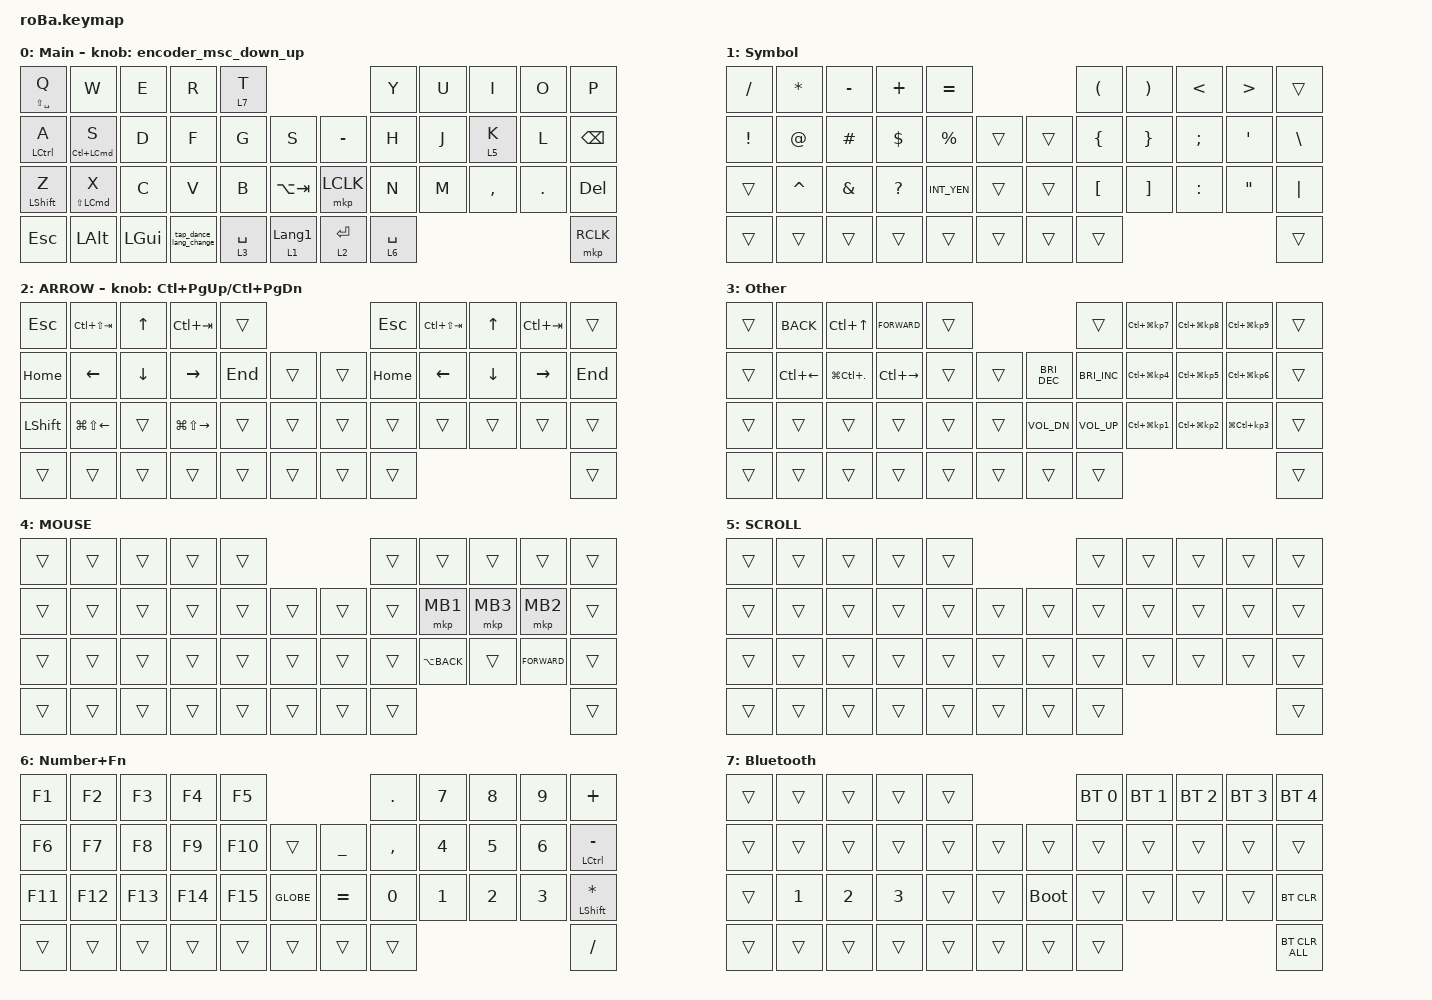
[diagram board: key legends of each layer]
#include <behaviors.dtsi>
#include <dt-bindings/zmk/bt.h>
#include <dt-bindings/zmk/keys.h>
#include <dt-bindings/zmk/pointing.h>

#define ZMK_POINTING_DEFAULT_SCRL_VAL 80
#define MOUSE 4
#define SCROLL 5
#define NUM 6

&mt {
    flavor = "balanced";
    quick-tap-ms = <0>;
};

/ {
    combos {
        compatible = "zmk,combos";

        tab {
            bindings = <&kp TAB>;
            key-positions = <11 12>;
        };

        shift_tab {
            bindings = <&kp LS(TAB)>;
            key-positions = <12 13>;
        };

        muhennkann {
            bindings = <&to_layer_0 INT_MUHENKAN>;
            key-positions = <11 10>;
        };

        double_quotation {
            bindings = <&kp DOUBLE_QUOTES>;
            key-positions = <20 21>;
        };

        eq {
            bindings = <&kp EQUAL>;
            key-positions = <24 25>;
        };

        back_with_JK {
            bindings = <&kp K_BACK>;
            key-positions = <18 19>;
        };

        forward_with_m, {
            bindings = <&kp K_FORWARD>;
            key-positions = <30 31>;
        };
    };

    macros {
        to_layer_0: to_layer_0 {
            compatible = "zmk,behavior-macro-one-param";
            #binding-cells = <1>;
            bindings = <&to 0 &macro_param_1to1 &kp MACRO_PLACEHOLDER>;
            label = "TO_LAYER_0";
        };

        control_command: control_command {
            compatible = "zmk,behavior-macro";
            #binding-cells = <0>;
            bindings = <&none>;
            label = "CONTROL_COMMAND";
        };

        encoder_msc_down_up: encoder_msc_down_up {
            compatible = "zmk,behavior-sensor-rotate";
            label = "ENCODER_MSC_DOWN_UP";
            #sensor-binding-cells = <0>;
            bindings = <&msc SCRL_DOWN>, <&msc SCRL_UP>;

            tap-ms = <20>;
        };
    };

    behaviors {
        lt_to_layer_0: lt_to_layer_0 {
            compatible = "zmk,behavior-hold-tap";
            label = "LAYER_TAP_TO_0";
            bindings = <&mo>, <&to_layer_0>;

            #binding-cells = <2>;
            tapping-term-ms = <200>;
        };

        tap_dance_lang_change: tap_dance_lang_change {
            compatible = "zmk,behavior-tap-dance";
            label = "TAP_DANCE_LANG_CHANGE";
            #binding-cells = <0>;
            bindings = <&kp LANGUAGE_1>, <&kp LANGUAGE_2>;
        };
    };

    keymap {
        compatible = "zmk,keymap";

        Main {
            bindings = <
&mt LS(SPACE) Q     &kp W                   &kp E         &kp R                   &lt_to_layer_0 7 T                                                           &kp Y                   &kp U  &kp I               &kp O    &kp P
&mt LEFT_CONTROL A  &mt LC(LEFT_COMMAND) S  &kp D         &kp F                   &kp G               &kp S                            &kp MINUS               &kp H                   &kp J  &lt_to_layer_0 5 K  &kp L    &kp BACKSPACE
&mt LEFT_SHIFT Z    &mt LS(LEFT_COMMAND) X  &kp C         &kp V                   &kp B               &kp LA(TAB)                      &mkp LCLK               &kp N                   &kp M  &kp COMMA           &kp DOT  &kp DELETE
&kp ESCAPE          &kp LEFT_ALT            &kp LEFT_GUI  &tap_dance_lang_change  &lt 3 SPACE         &lt_to_layer_0 1 LANGUAGE_1      &lt_to_layer_0 2 ENTER  &lt_to_layer_0 6 SPACE                                      &mkp RCLK
            >;

            sensor-bindings = <&encoder_msc_down_up>;
        };

        Symbol {
            bindings = <
&kp SLASH        &kp ASTERISK  &kp MINUS      &kp PLUS      &kp EQUAL                        &kp LEFT_PARENTHESIS  &kp RIGHT_PARENTHESIS  &kp LESS_THAN  &kp GREATER_THAN   &trans
&kp EXCLAMATION  &kp AT_SIGN   &kp HASH       &kp DOLLAR    &kp PERCENT  &trans      &trans  &kp LEFT_BRACE        &kp RIGHT_BRACE        &kp SEMICOLON  &kp APOSTROPHE     &kp BACKSLASH
&trans           &kp CARET     &kp AMPERSAND  &kp QUESTION  &kp INT_YEN  &trans      &trans  &kp LEFT_BRACKET      &kp RIGHT_BRACKET      &kp COLON      &kp DOUBLE_QUOTES  &kp PIPE
&trans           &trans        &trans         &trans        &trans       &trans      &trans  &trans                                                                         &trans
            >;
        };

        ARROW {
            bindings = <
&kp ESCAPE      &kp LC(LS(TAB))         &kp UP_ARROW    &kp LC(TAB)              &trans                       &kp ESCAPE  &kp LC(LS(TAB))  &kp UP_ARROW    &kp LC(TAB)  &trans
&kp HOME        &kp LEFT_ARROW          &kp DOWN_ARROW  &kp RIGHT_ARROW          &kp END  &trans      &trans  &kp HOME    &kp LEFT         &kp DOWN_ARROW  &kp RIGHT    &kp END
&kp LEFT_SHIFT  &kp LG(LS(LEFT_ARROW))  &trans          &kp LG(LS(RIGHT_ARROW))  &trans   &trans      &trans  &trans      &trans           &trans          &trans       &trans
&trans          &trans                  &trans          &trans                   &trans   &trans      &trans  &trans                                                    &trans
            >;

            sensor-bindings = <&inc_dec_kp LC(PAGE_UP) LC(PAGE_DOWN)>;
        };

        Other {
            bindings = <
&trans  &kp K_BACK          &kp LC(UP_ARROW)    &kp K_FORWARD        &trans                                    &trans                &kp LC(LG(KP_NUMBER_7))  &kp LC(LG(KP_NUMBER_8))  &kp LC(LG(KP_NUMBER_9))  &trans
&trans  &kp LC(LEFT_ARROW)  &kp LG(LC(PERIOD))  &kp LC(RIGHT_ARROW)  &trans  &trans      &kp C_BRIGHTNESS_DEC  &kp C_BRIGHTNESS_INC  &kp LC(LG(KP_NUMBER_4))  &kp LC(LG(KP_NUMBER_5))  &kp LC(LG(KP_NUMBER_6))  &trans
&trans  &trans              &trans              &trans               &trans  &trans      &kp C_VOL_DN          &kp C_VOLUME_UP       &kp LC(LG(KP_NUMBER_1))  &kp LC(LG(KP_NUMBER_2))  &kp LG(LC(KP_NUMBER_3))  &trans
&trans  &trans              &trans              &trans               &trans  &trans      &trans                &trans                                                                                           &trans
            >;
        };

        MOUSE {
            bindings = <
&trans  &trans  &trans  &trans  &trans                      &trans  &trans          &trans    &trans         &trans
&trans  &trans  &trans  &trans  &trans  &trans      &trans  &trans  &mkp MB1        &mkp MB3  &mkp MB2       &trans
&trans  &trans  &trans  &trans  &trans  &trans      &trans  &trans  &kp LA(K_BACK)  &trans    &kp K_FORWARD  &trans
&trans  &trans  &trans  &trans  &trans  &trans      &trans  &trans                                           &trans
            >;
        };

        SCROLL {
            bindings = <
&trans  &trans  &trans  &trans  &trans                      &trans  &trans  &trans  &trans  &trans
&trans  &trans  &trans  &trans  &trans  &trans      &trans  &trans  &trans  &trans  &trans  &trans
&trans  &trans  &trans  &trans  &trans  &trans      &trans  &trans  &trans  &trans  &trans  &trans
&trans  &trans  &trans  &trans  &trans  &trans      &trans  &trans                          &trans
            >;
        };

        Number+Fn {
            bindings = <
&kp F1   &kp F2   &kp F3   &kp F4   &kp F5                                  &kp PERIOD    &kp NUMBER_7  &kp NUMBER_8  &kp NUMBER_9  &kp PLUS
&kp F6   &kp F7   &kp F8   &kp F9   &kp F10  &trans         &kp UNDERSCORE  &kp COMMA     &kp NUMBER_4  &kp NUMBER_5  &kp NUMBER_6  &mt LEFT_CONTROL MINUS
&kp F11  &kp F12  &kp F13  &kp F14  &kp F15  &kp GLOBE      &kp EQUAL       &kp NUMBER_0  &kp NUMBER_1  &kp NUMBER_2  &kp NUMBER_3  &mt LEFT_SHIFT ASTERISK
&trans   &trans   &trans   &trans   &trans   &trans         &trans          &trans                                                  &kp SLASH
            >;
        };

        Bluetooth {
            bindings = <
&trans  &trans        &trans        &trans        &trans                           &bt BT_SEL 0  &bt BT_SEL 1  &bt BT_SEL 2  &bt BT_SEL 3  &bt BT_SEL 4
&trans  &trans        &trans        &trans        &trans  &trans      &trans       &trans        &trans        &trans        &trans        &trans
&trans  &kp NUMBER_1  &kp NUMBER_2  &kp NUMBER_3  &trans  &trans      &bootloader  &trans        &trans        &trans        &trans        &bt BT_CLR
&trans  &trans        &trans        &trans        &trans  &trans      &trans       &trans                                                  &bt BT_CLR_ALL
            >;
        };
    };
};
